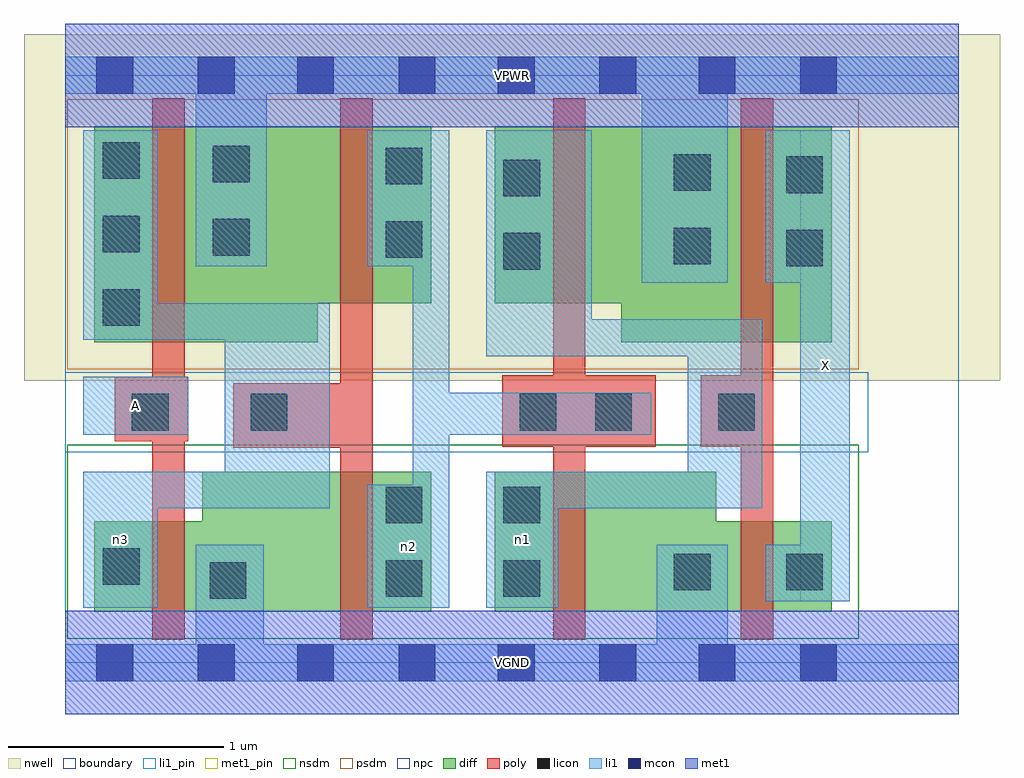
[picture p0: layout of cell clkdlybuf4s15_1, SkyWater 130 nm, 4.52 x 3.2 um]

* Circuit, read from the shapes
.subckt clkdlybuf4s15_1 A VGND VPWR X n1 n2 n3
XM1 VGND A n3 VSUBS sky130_fd_pr__nfet_01v8 w=0.42 l=0.15
XM2 n2 n3 VGND VSUBS sky130_fd_pr__nfet_01v8 w=0.65 l=0.15
XM3 VGND n2 n1 VSUBS sky130_fd_pr__nfet_01v8 w=0.65 l=0.15
XM4 X n1 VGND VSUBS sky130_fd_pr__nfet_01v8 w=0.42 l=0.15
XM5 VPWR A n3 n4 sky130_fd_pr__pfet_01v8 w=1 l=0.15
XM6 n2 n3 VPWR n4 sky130_fd_pr__pfet_01v8 w=0.82 l=0.15
XM7 VPWR n2 n1 n4 sky130_fd_pr__pfet_01v8 w=0.82 l=0.15
XM8 X n1 VPWR n4 sky130_fd_pr__pfet_01v8 w=1 l=0.15
.ends

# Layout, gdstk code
import gdstk
lib = gdstk.Library(unit=1e-6, precision=1e-09)
def R(c, l, rs):  # rectangles x0, y0, x1, y1
    for r in rs: c.add(gdstk.rectangle(r[:2], r[2:], *l))
def A(c, l, x, y, w, h, nx, ny, dx, dy):  # array of equal rectangles
    R(c, l, [(x+i*dx, y+j*dy, x+i*dx+w, y+j*dy+h) for i in range(nx) for j in range(ny)])
nwell = (64, 20)
diff = (65, 20)
poly = (66, 20)
licon = (66, 44)
li1_pin = (67, 16)
li1 = (67, 20)
mcon = (67, 44)
met1_pin = (68, 16)
met1 = (68, 20)
nsdm = (93, 44)
psdm = (94, 20)
npc = (95, 20)
boundary = (235, 4)

clkdlybuf4s15_1 = lib.new_cell('clkdlybuf4s15_1')
R(clkdlybuf4s15_1, nwell, [(-0.19,1.305,4.33,2.91), (0,1.305,4.14,2.91)])
R(clkdlybuf4s15_1, diff, [(0.135,0.235,1.695,0.655), (0.635,0.235,1.695,0.885), (1.99,0.235,3.55,0.655), (1.99,0.235,3.015,0.885), (0.135,1.485,1.17,2.485), (2.575,1.485,3.55,2.485), (0.135,1.665,1.695,2.485), (1.99,1.665,3.55,2.485)])
R(clkdlybuf4s15_1, poly, [(0.405,0.105,0.555,2.615), (1.275,0.105,1.425,2.615), (2.26,0.105,2.41,2.615), (3.13,0.105,3.28,2.615), (0.78,0.995,1.425,1.295), (2.025,1,2.735,1.33), (2.945,1,3.28,1.33), (0.23,1.025,0.57,1.325)])
A(clkdlybuf4s15_1, licon, 0.175, 1.56, 0.17, 0.17, 1, 3, 0, 0.34)
R(clkdlybuf4s15_1, licon, [(0.67,0.295,0.84,0.465), (1.485,0.305,1.655,0.475), (2.03,0.305,2.2,0.475), (2.82,0.335,2.99,0.505), (3.34,0.335,3.51,0.505), (0.175,0.36,0.345,0.53), (1.485,0.645,1.655,0.815), (2.03,0.645,2.2,0.815), (0.31,1.075,0.48,1.245), (0.86,1.075,1.03,1.245), (2.105,1.075,2.275,1.245), (2.455,1.075,2.625,1.245), (3.025,1.075,3.195,1.245), (2.03,1.82,2.2,1.99), (3.34,1.835,3.51,2.005), (2.82,1.845,2.99,2.015), (1.485,1.875,1.655,2.045), (0.685,1.885,0.855,2.055), (2.03,2.16,2.2,2.33), (3.34,2.175,3.51,2.345), (2.82,2.185,2.99,2.355), (1.485,2.215,1.655,2.385), (0.685,2.225,0.855,2.395)])
R(clkdlybuf4s15_1, li1_pin, [(3.405,0.285,3.635,2.465), (0.085,1.055,0.57,1.325)])
R(clkdlybuf4s15_1, li1, [(0,-0.085,4.14,0.085), (0.605,-0.085,0.92,0.545), (2.74,-0.085,3.07,0.545), (0.085,0.255,0.43,0.885), (1.4,0.255,1.78,0.825), (1.61,0.255,1.78,2.465), (1.95,0.255,2.285,0.885), (3.245,0.285,3.635,0.545), (3.405,0.285,3.635,2.465), (0.085,0.715,1.225,0.885), (0.74,0.715,1.225,1.665), (1.95,0.715,3.23,0.885), (2.885,0.715,3.23,1.59), (0.085,1.055,0.57,1.325), (1.61,1.055,2.715,1.25), (1.95,1.42,3.23,1.59), (1.95,1.42,2.44,2.465), (0.085,1.495,1.225,1.665), (0.085,1.495,0.43,2.465), (2.67,1.76,3.07,2.805), (3.245,1.76,3.635,2.465), (0.605,1.835,0.935,2.805), (1.4,1.835,1.78,2.465), (0,2.635,4.14,2.805)])
R(clkdlybuf4s15_1, mcon, [(0.145,-0.085,0.315,0.085), (0.615,-0.085,0.785,0.085), (1.075,-0.085,1.245,0.085), (1.545,-0.085,1.715,0.085), (2.005,-0.085,2.175,0.085), (2.475,-0.085,2.645,0.085), (2.935,-0.085,3.105,0.085), (3.405,-0.085,3.575,0.085), (0.145,2.635,0.315,2.805), (0.615,2.635,0.785,2.805), (1.075,2.635,1.245,2.805), (1.545,2.635,1.715,2.805), (2.005,2.635,2.175,2.805), (2.475,2.635,2.645,2.805), (2.935,2.635,3.105,2.805), (3.405,2.635,3.575,2.805)])
R(clkdlybuf4s15_1, met1_pin, [(0,-0.24,4.14,0.24), (0,2.48,4.14,2.96)])
R(clkdlybuf4s15_1, met1, [(0,-0.24,4.14,0.24), (0,2.48,4.14,2.96)])
R(clkdlybuf4s15_1, nsdm, [(0.01,0.11,3.675,1.01)])
R(clkdlybuf4s15_1, psdm, [(0.01,1.36,3.675,2.61)])
R(clkdlybuf4s15_1, npc, [(0,0.975,3.72,1.345)])
R(clkdlybuf4s15_1, boundary, [(0,0,4.14,2.72)])
clkdlybuf4s15_1.add(gdstk.Label('A', (0.327,1.19), layer=67, texttype=5))
clkdlybuf4s15_1.add(gdstk.Label('X', (3.52,1.375), layer=67, texttype=5))
clkdlybuf4s15_1.add(gdstk.Label('n3', (0.257,0.57), layer=67, texttype=5))
clkdlybuf4s15_1.add(gdstk.Label('n2', (1.59,0.54), layer=67, texttype=5))
clkdlybuf4s15_1.add(gdstk.Label('n1', (2.117,0.57), layer=67, texttype=5))
clkdlybuf4s15_1.add(gdstk.Label('VPWR', (2.07,2.72), layer=68, texttype=5))
clkdlybuf4s15_1.add(gdstk.Label('VGND', (2.07,0), layer=68, texttype=5))
clkdlybuf4s15_1.add(gdstk.Label('A', (0.327,1.19), layer=67, texttype=16))
clkdlybuf4s15_1.add(gdstk.Label('X', (3.52,1.375), layer=67, texttype=16))
clkdlybuf4s15_1.add(gdstk.Label('VPWR', (2.07,2.72), layer=68, texttype=16))
clkdlybuf4s15_1.add(gdstk.Label('VGND', (2.07,0), layer=68, texttype=16))

lib.write_gds('clkdlybuf4s15_1.gds')
